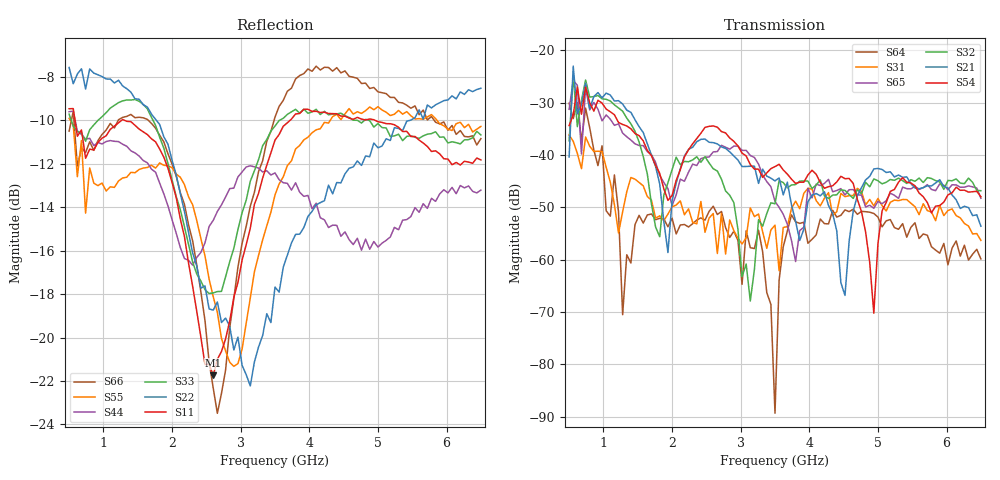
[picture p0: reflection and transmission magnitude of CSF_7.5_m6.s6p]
!Keysight Technologies,M9804A,MY58100912,A.14.10.03
!Date: Thursday, April 27, 2023 10:28:33
!Correction: S11(C  6-Port  )
!S12(C  6-Port  )
!S13(C  6-Port  )
!S14(C  6-Port  )
!S15(C  6-Port  )
!S16(C  6-Port  )
!S21(C  6-Port  )
!S22(C  6-Port  )
!S23(C  6-Port  )
!S24(C  6-Port  )
!S25(C  6-Port  )
!S26(C  6-Port  )
!S31(C  6-Port  )
!S32(C  6-Port  )
!S33(C  6-Port  )
!S34(C  6-Port  )
!S35(C  6-Port  )
!S36(C  6-Port  )
!S41(C  6-Port  )
!S42(C  6-Port  )
!S43(C  6-Port  )
!S44(C  6-Port  )
!S45(C  6-Port  )
!S46(C  6-Port  )
!S51(C  6-Port  )
!S52(C  6-Port  )
!S53(C  6-Port  )
!S54(C  6-Port  )
!S55(C  6-Port  )
!S56(C  6-Port  )
!S61(C  6-Port  )
!S62(C  6-Port  )
!S63(C  6-Port  )
!S64(C  6-Port  )
!S65(C  6-Port  )
!S66(C  6-Port  )
!S6P File: Measurement: :
# Hz S  RI  R 50
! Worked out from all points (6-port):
!   101 points, 500 MHz to 6.5 GHz, reference 50 ohm
!   strongest paths, dB at 500 MHz, 2 GHz, 3.5 GHz, 5 GHz, 6.5 GHz:
!     S54: -34.4, -47.8, -42.2, -56.9, -48.0
!     S21: -40.4, -48.8, -45.0, -42.6, -53.6
!     S32: -37.3, -42.8, -49.3, -44.9, -46.8
!     S65: -31.3, -49.7, -48.9, -48.9, -48.3
!     S31: -36.2, -49.9, -53.4, -48.3, -56.3
!     S64: -30.1, -52.1, -89.4, -51.9, -59.9
!   lowest |S11| = -21.7 dB at 2.6 GHz (marker M1), VSWR 1.18, Z = 42.7 + j1.95 ohm
!   |S11| at or under -10 dB: 585.5 MHz to 1.265 GHz (679.2 MHz wide, 73.4 % of centre); 1.308 GHz to 3.719 GHz (2.412 GHz wide, 96 % of centre); 4.958 GHz to end of sweep
